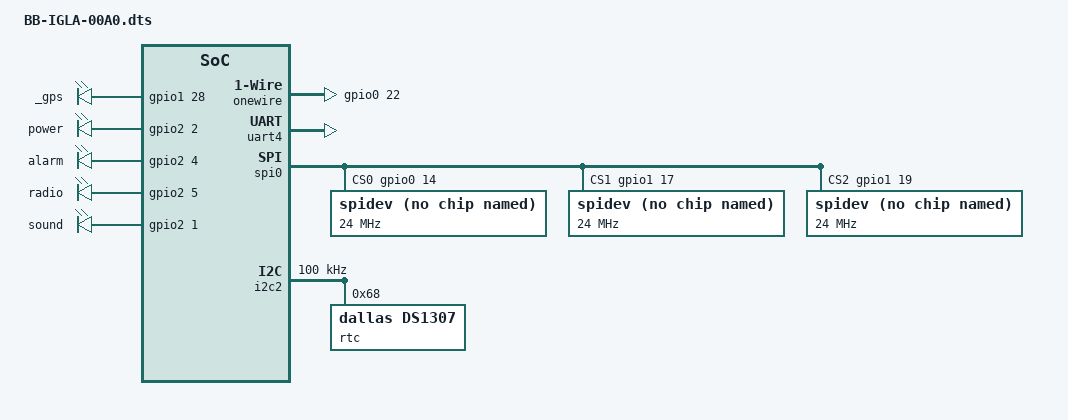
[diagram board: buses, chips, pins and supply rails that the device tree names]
/*
 * Copyright (C) 2015 Robert Nelson <robertcnelson@gmail.com>
 *
 * Virtual cape for onewire on connector pin P8.19
 *
 * This program is free software; you can redistribute it and/or modify
 * it under the terms of the GNU General Public License version 2 as
 * published by the Free Software Foundation.
 */

/dts-v1/;
/plugin/;

#include <dt-bindings/board/am335x-bbw-bbb-base.h>
#include <dt-bindings/gpio/gpio.h>
#include <dt-bindings/pinctrl/am33xx.h>

/ {
	compatible = "ti,beaglebone", "ti,beaglebone-black", "ti,beaglebone-green";

	/* identification */
	part-number = "IGLA";
	version = "00A0";

	/* state the resources this cape uses */
	exclusive-use =
		/* the pins header uses */
		"P8.19", // OneWire

        // GPS:
        "uart4", // uart   
        "P9.13", // uart4_txd
        "P9.11", // uart4_rxd
        "P9.12", "gpio1_28", // gps_on    

        // LEDs:
		"P8.07", "gpio2_2", // led1
		"P8.10", "gpio2_4", // led3
		"P8.09", "gpio2_5", // led4

		// BUZZER:
		"P8.18", "gpio2_1", // buzzer

		// RTC:
		"i2c2",  // i2c
		"P9.19", // SCL
		"P9.20", // SDA

        // SX1276:
        "spi0",  // spi
		"P9.18", // MOSI
		"P9.21", // MISO
		"P9.22", // SCK

		"P9.26", //?"gpio0_14", // NSS0
		"P9.23", //?"gpio1_17", // NSS1
		"P9.16"; //?"gpio1_19"; // NSS2

	/*
	 * Free up the pins used by the cape from the pinmux helpers.
	 */
	fragment@0 {
		target = <&ocp>;
		__overlay__ {
            // OneWire:
			P8_19_pinmux { status = "disabled"; };

            // GPS:
            P9_12_pinmux { status = "disabled"; };  /* gps_on */
            P9_13_pinmux { status = "disabled"; };  /* uart4_txd */
            P9_11_pinmux { status = "disabled"; };  /* uart4_rxd */

            // LEDs:
			P8_07_pinmux { status = "disabled"; };
			P8_10_pinmux { status = "disabled"; };
			P8_09_pinmux { status = "disabled"; };
			
			// BUZZER:
			P8_18_pinmux { status = "disabled"; };

			// RTC:
			P9_19_pinmux { status = "disabled"; }; // SCL
			P9_20_pinmux { status = "disabled"; }; // SDA

            // SX1276:
			P9_26_pinmux { status = "disabled"; }; // NSS0
			P9_23_pinmux { status = "disabled"; }; // NSS1
			P9_16_pinmux { status = "disabled"; }; // NSS2

			P9_18_pinmux { status = "disabled"; }; // MOSI
			P9_21_pinmux { status = "disabled"; }; // MISO
			P9_22_pinmux { status = "disabled"; }; // SCLK
		};
	};

	fragment@1 {
		target = <&am33xx_pinmux>;
		__overlay__ {
			led_pins: pinmux_led_pins { // was 0xf
				pinctrl-single,pins = < 
					BONE_P9_12 (PIN_OUTPUT | MUX_MODE7)

					BONE_P8_07 (PIN_OUTPUT | MUX_MODE7)
					BONE_P8_10 (PIN_OUTPUT | MUX_MODE7)
					BONE_P8_09 (PIN_OUTPUT | MUX_MODE7)

					BONE_P8_18 (PIN_OUTPUT | MUX_MODE7)
				>;
			};

			dallas_w1_pins: pinmux_dallas_w1_pins {
				pinctrl-single,pins = < 
					BONE_P8_19 0x37
				>;
			};

            bb_uart4_pins: pinmux_bb_uart4_pins {
                pinctrl-single,pins = <
                    BONE_P9_13 (PIN_OUTPUT | MUX_MODE6)     // gpmc_wpn.uart4_txd_mux2
                    BONE_P9_11 (PIN_INPUT  | MUX_MODE6)     // gpmc_wait0.uart4_rxd_mux2
                >;
            };

            sx1276_pins: pinmux_sx1276_pins {
                pinctrl-single,pins = <
                    BONE_P9_18 (PIN_OUTPUT_PULLUP | MUX_MODE0)     // MOSI
                    BONE_P9_21 (PIN_INPUT_PULLUP  | MUX_MODE0)     // MISO
                    BONE_P9_22 (PIN_INPUT_PULLUP  | MUX_MODE0)     // SCLK

                    BONE_P9_26 (PIN_OUTPUT_PULLUP | MUX_MODE7)  // NSS0
					BONE_P9_23 (PIN_OUTPUT_PULLUP | MUX_MODE7)  // NSS1
					BONE_P9_16 (PIN_OUTPUT_PULLUP | MUX_MODE7)  // NSS2
                >;
            };

            ds1307_pins: pinmux_ds1307_pins {
                pinctrl-single,pins = <
                    BONE_P9_19 (PIN_INPUT_PULLUP | MUX_MODE3)     // SCL
                    BONE_P9_20 (PIN_INPUT_PULLUP | MUX_MODE3)     // SCK
                >;
            };
		};
	};

	fragment@2 {
		target-path="/";
		__overlay__ {
			onewire {
				status = "okay";
				pinctrl-names = "default";
				pinctrl-0 = <&dallas_w1_pins>;

				compatible = "w1-gpio";
				gpios = <&gpio0 22 GPIO_ACTIVE_HIGH>;
			};
		};
	};

    fragment@3 {
        target = <&uart4>;
        __overlay__ {
            status = "okay";
            pinctrl-names = "default";
            pinctrl-0 = <&bb_uart4_pins>;
        };
    };

    fragment@4 {
        target = <&spi0>;
        __overlay__ {
			#address-cells = <1>;
			#size-cells = <0>;
			
			cs-gpios = <&gpio0 14 0>, <&gpio1 17 0>, <&gpio1 19 0>;

			status = "okay";
			pinctrl-names = "default";
			pinctrl-0 = <&sx1276_pins>;

			spidev@0 {
				spi-max-frequency = <24000000>;
				reg = <0>;
				compatible = "linux,spidev";
            };

			spidev@1 {
				spi-max-frequency = <24000000>;
				reg = <1>;
				compatible = "linux,spidev";
            };

			spidev@2 {
				spi-max-frequency = <24000000>;
				reg = <2>;
				compatible = "linux,spidev";
            };
        };
    };

	fragment@5 {
		target = <&i2c2>;

		__overlay__ {
			#address-cells = <1>;
			#size-cells = <0>;

			status = "okay";
            pinctrl-names = "default";
			pinctrl-0 = <&ds1307_pins>;

			clock-frequency = <100000>;

			rtc@68 {
				reg = <0x68>;
				compatible = "dallas,ds1307";
			};
		};
	};

	fragment@6 {
		target = <&ocp>;
		__overlay__ {
			led_pins_helper {
				compatible = "gpio-leds";
				pinctrl-names = "default";
				pinctrl-0 = <&led_pins>;
				gps {
					label = "_gps";
					gpios = <&gpio1 28 0>; /* flag 1 means active low */
					linux,default-trigger = "none";
					default-state = "on";
				};
				
				led-1 {
					label = "power";
					gpios = <&gpio2 2 0>; /* flag 1 means active low */
					linux,default-trigger = "none";
					default-state = "on";
				};
				led-3 {
					label = "alarm";
					gpios = <&gpio2 4 0>; /* flag 1 means active low */
					linux,default-trigger = "none";
					default-state = "off";
				};
				led-4 {
					label = "radio";
					gpios = <&gpio2 5 0>; /* flag 1 means active low */
					linux,default-trigger = "none";
					default-state = "off";
				};

				sound {
					label = "sound";
					gpios = <&gpio2 1 0>; /* flag 1 means active low */
					linux,default-trigger = "none";
					default-state = "off";
				};

			};
			
		};
	};
};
